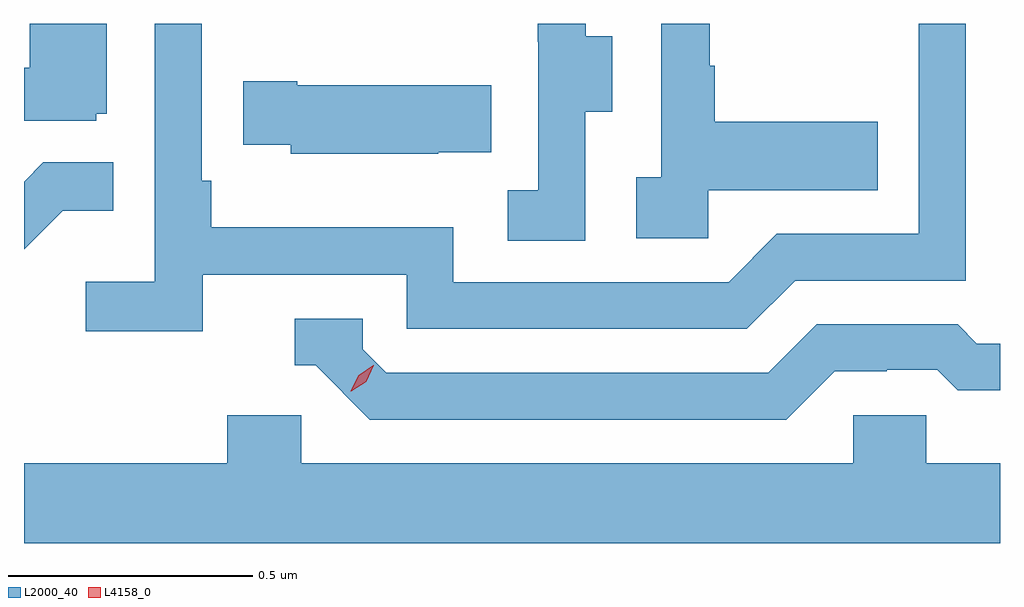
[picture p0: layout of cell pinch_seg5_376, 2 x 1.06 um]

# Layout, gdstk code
import gdstk
lib = gdstk.Library(unit=1e-6, precision=1e-09)
def P(c, l, *ps):  # polygons
    for p in ps: c.add(gdstk.Polygon(p, *l))
L2000_40 = (2000, 40)
L4158_0 = (4158, 0)

pinch_seg5_376 = lib.new_cell('pinch_seg5_376')
P(pinch_seg5_376, L2000_40, [(1009.302,890.94),(1009.324,890.94),(1009.324,891.124),(1009.166,891.124),(1009.166,891.034),(1009.154,891.034),(1009.154,890.925),(1009.302,890.925)],
  [(1010.304,890.944),(1010.359,890.944),(1010.359,891.099),(1010.305,891.099),(1010.305,891.124),(1010.207,891.124),(1010.207,891.087),(1010.208,891.087),(1010.208,890.783),(1010.145,890.783),(1010.145,890.68),(1010.304,890.68)],
  [(1010.556,890.783),(1010.903,890.783),(1010.903,890.923),(1010.569,890.923),(1010.569,891.038),(1010.559,891.038),(1010.559,891.124),(1010.46,891.124),(1010.46,890.81),(1010.409,890.81),(1010.409,890.685),(1010.556,890.685)],
  [(1009.52,890.61),(1009.938,890.61),(1009.938,890.499),(1010.635,890.499),(1010.734,890.598),(1011.084,890.598),(1011.084,891.124),(1010.988,891.124),(1010.988,890.694),(1010.697,890.694),(1010.598,890.595),(1010.034,890.595),(1010.034,890.707),(1009.538,890.707),(1009.538,890.803),(1009.518,890.803),(1009.518,891.124),(1009.422,891.124),(1009.422,890.596),(1009.281,890.596),(1009.281,890.494),(1009.52,890.494)],
  [(1010.003,890.861),(1010.111,890.861),(1010.111,890.998),(1009.714,890.998),(1009.714,891.006),(1009.603,891.006),(1009.603,890.876),(1009.701,890.876),(1009.701,890.858),(1010.003,890.858)],
  [(1009.233,890.741),(1009.337,890.741),(1009.337,890.84),(1009.193,890.84),(1009.154,890.801),(1009.154,890.662)],
  [(1010.815,890.412),(1010.922,890.412),(1010.922,890.415),(1011.025,890.415),(1011.067,890.373),(1011.154,890.373),(1011.154,890.469),(1011.106,890.469),(1011.067,890.508),(1010.778,890.508),(1010.679,890.409),(1009.896,890.409),(1009.848,890.457),(1009.848,890.52),(1009.709,890.52),(1009.709,890.424),(1009.752,890.424),(1009.863,890.313),(1010.716,890.313)],
  [(1011.154,890.224),(1011.003,890.224),(1011.003,890.322),(1010.853,890.322),(1010.853,890.224),(1009.722,890.224),(1009.722,890.322),(1009.571,890.322),(1009.571,890.224),(1009.154,890.224),(1009.154,890.06),(1011.154,890.06)])
P(pinch_seg5_376, L4158_0, [(1009.824,890.371),(1009.824,890.372),(1009.84,890.404),(1009.87,890.424),(1009.871,890.424),(1009.871,890.424),(1009.855,890.391),(1009.825,890.371)])

lib.write_gds('pinch_seg5_376.gds')
